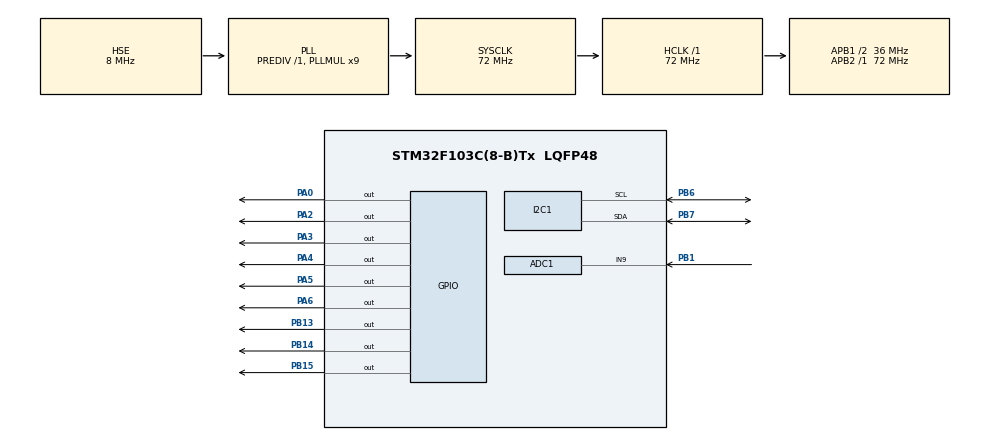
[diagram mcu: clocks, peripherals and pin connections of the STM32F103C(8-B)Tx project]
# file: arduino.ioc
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ADC1.Channel-0\#ChannelRegularConversion=ADC_CHANNEL_9
ADC1.ContinuousConvMode=ENABLE
ADC1.NbrOfConversionFlag=1
ADC1.Rank-0\#ChannelRegularConversion=1
ADC1.SamplingTime-0\#ChannelRegularConversion=ADC_SAMPLETIME_1CYCLE_5
ADC1.master=1
Mcu.Family=STM32F1
Mcu.Name=STM32F103C(8-B)Tx
Mcu.Package=LQFP48
NVIC.PriorityGroup=NVIC_PRIORITYGROUP_4
NVIC.TIM2_IRQn=true\:0\:0\:false\:false\:true\:true\:true\:true
NVIC.TIM3_IRQn=true\:0\:0\:false\:false\:true\:true\:true\:true
PA0-WKUP.Signal=GPIO_Output
PA13.Mode=Serial_Wire
PA13.Signal=SYS_JTMS-SWDIO
PA14.Mode=Serial_Wire
PA14.Signal=SYS_JTCK-SWCLK
PA2.Signal=GPIO_Output
PA3.Signal=GPIO_Output
PA4.Signal=GPIO_Output
PA5.Signal=GPIO_Output
PA6.Signal=GPIO_Output
PB1.Signal=ADCx_IN9
PB13.Signal=GPIO_Output
PB14.Signal=GPIO_Output
PB15.Signal=GPIO_Output
PB6.Mode=I2C
PB6.Signal=I2C1_SCL
PB7.Mode=I2C
PB7.Signal=I2C1_SDA
PD0-OSC_IN.Mode=HSE-External-Oscillator
PD0-OSC_IN.Signal=RCC_OSC_IN
PD1-OSC_OUT.Mode=HSE-External-Oscillator
PD1-OSC_OUT.Signal=RCC_OSC_OUT
ProjectManager.HeapSize=0x200
ProjectManager.StackSize=0x400
ProjectManager.TargetToolchain=STM32CubeIDE
RCC.ADCPresc=RCC_ADCPCLK2_DIV6
RCC.AHBFreq_Value=72000000
RCC.APB1CLKDivider=RCC_HCLK_DIV2
RCC.APB1Freq_Value=36000000
RCC.APB1TimFreq_Value=72000000
RCC.APB2Freq_Value=72000000
RCC.APB2TimFreq_Value=72000000
RCC.HCLKFreq_Value=72000000
RCC.PLLMUL=RCC_PLL_MUL9
RCC.PLLSourceVirtual=RCC_PLLSOURCE_HSE
RCC.SYSCLKFreq_VALUE=72000000
RCC.SYSCLKSource=RCC_SYSCLKSOURCE_PLLCLK
RCC.USBFreq_Value=72000000
SH.ADCx_IN9.0=ADC1_IN9,IN9
TIM2.Period=2000
TIM2.Prescaler=7200-1 
TIM3.Period=3000
TIM3.Prescaler=7200-1
VP_TIM2_VS_ClockSourceINT.Mode=Internal
VP_TIM3_VS_ClockSourceINT.Mode=Internal
board=custom

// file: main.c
/* USER CODE BEGIN Header */
/**
  ******************************************************************************
  * @file           : main.c
  * @brief          : Main program body
  ******************************************************************************
  * @attention
  *
  * Copyright (c) 2024 STMicroelectronics.
  * All rights reserved.
  *
  * This software is licensed under terms that can be found in the LICENSE file
  * in the root directory of this software component.
  * If no LICENSE file comes with this software, it is provided AS-IS.
  *
  ******************************************************************************
  */
/* USER CODE END Header */
#include "main.h"

/* USER CODE BEGIN Includes */
#include "i2c-lcd.h"
#include "stdio.h"

/* USER CODE END Includes */

ADC_HandleTypeDef hadc1;
I2C_HandleTypeDef hi2c1;
TIM_HandleTypeDef htim2;
TIM_HandleTypeDef htim3;

void SystemClock_Config(void);
static void MX_GPIO_Init(void);
static void MX_ADC1_Init(void);
static void MX_TIM2_Init(void);
static void MX_TIM3_Init(void);
static void MX_I2C1_Init(void);

/* USER CODE BEGIN 0 */
int row=0;
int col=0;
/* USER CODE END 0 */

int main(void)
{

  /* MCU Configuration--------------------------------------------------------*/

  /* Reset of all peripherals, Initializes the Flash interface and the Systick. */
  HAL_Init();

  /* Configure the system clock */
  SystemClock_Config();

  /* Initialize all configured peripherals */
  MX_GPIO_Init();
  MX_ADC1_Init();
  MX_TIM2_Init();
  MX_TIM3_Init();
  MX_I2C1_Init();

  /* USER CODE BEGIN 2 */

  uint16_t readValue;
  HAL_ADC_Start(&hadc1);
  HAL_TIM_Base_Start_IT(&htim2);
  HAL_TIM_Base_Start_IT(&htim3);

  lcd_init ();
  lcd_put_cur(0, 0);
  lcd_send_string ("TUBES MIKRO");
  lcd_put_cur(1, 0);
  lcd_send_string("INFO SUTRA");
  /* USER CODE END 2 */

  /* Infinite loop */
  /* USER CODE BEGIN WHILE */
  while (1)
  {
      HAL_ADC_PollForConversion(&hadc1, 1000);
      readValue = HAL_ADC_GetValue(&hadc1);

      if (readValue < 200) {
          // 1
          HAL_GPIO_WritePin(GPIOA, GPIO_PIN_0, 1); // kanan atas
          HAL_GPIO_WritePin(GPIOA, GPIO_PIN_2, 0); // tengah atas
          HAL_GPIO_WritePin(GPIOA, GPIO_PIN_3, 0); // kiri atas
          HAL_GPIO_WritePin(GPIOA, GPIO_PIN_4, 0); // tengah
          HAL_GPIO_WritePin(GPIOB, GPIO_PIN_13, 1); // kanan bawah
          HAL_GPIO_WritePin(GPIOB, GPIO_PIN_14, 0); // tengah bawah
          HAL_GPIO_WritePin(GPIOB, GPIO_PIN_15, 0); // kiri bawah

          HAL_TIM_Base_Stop(&htim2);
          HAL_TIM_PWM_Stop(&htim2, TIM_CHANNEL_1);
          HAL_TIM_Base_Stop(&htim3);
          HAL_TIM_PWM_Stop(&htim3, TIM_CHANNEL_1);

      }
      else if (readValue < 250) {
          // 2
          HAL_GPIO_WritePin(GPIOA, GPIO_PIN_0, 1); // kanan atas
          HAL_GPIO_WritePin(GPIOA, GPIO_PIN_2, 1); // tengah atas
          HAL_GPIO_WritePin(GPIOA, GPIO_PIN_3, 0); // kiri atas
          HAL_GPIO_WritePin(GPIOA, GPIO_PIN_4, 1); // tengah
          HAL_GPIO_WritePin(GPIOB, GPIO_PIN_13, 0); // kanan bawah
          HAL_GPIO_WritePin(GPIOB, GPIO_PIN_14, 1); // tengah bawah
          HAL_GPIO_WritePin(GPIOB, GPIO_PIN_15, 1); // kiri bawah

          HAL_TIM_Base_Start(&htim2);  // Start Timer 2
          HAL_TIM_Base_Start(&htim3);  // Start Timer 3

      }
      else if (readValue < 300) {
          // 3
          HAL_GPIO_WritePin(GPIOA, GPIO_PIN_0, 1); // kanan atas
          HAL_GPIO_WritePin(GPIOA, GPIO_PIN_2, 1); // tengah atas
          HAL_GPIO_WritePin(GPIOA, GPIO_PIN_3, 0); // kiri atas
          HAL_GPIO_WritePin(GPIOA, GPIO_PIN_4, 1); // tengah
          HAL_GPIO_WritePin(GPIOB, GPIO_PIN_13, 1); // kanan bawah
          HAL_GPIO_WritePin(GPIOB, GPIO_PIN_14, 1); // tengah bawah
          HAL_GPIO_WritePin(GPIOB, GPIO_PIN_15, 0); // kiri bawah
      }
      else if (readValue < 350) {
          // 4
          HAL_GPIO_WritePin(GPIOA, GPIO_PIN_0, 1); // kanan atas
          HAL_GPIO_WritePin(GPIOA, GPIO_PIN_2, 0); // tengah atas
          HAL_GPIO_WritePin(GPIOA, GPIO_PIN_3, 1); // kiri atas
          HAL_GPIO_WritePin(GPIOA, GPIO_PIN_4, 1); // tengah
          HAL_GPIO_WritePin(GPIOB, GPIO_PIN_13, 1); // kanan bawah
          HAL_GPIO_WritePin(GPIOB, GPIO_PIN_14, 0); // tengah bawah
          HAL_GPIO_WritePin(GPIOB, GPIO_PIN_15, 0); // kiri bawah
      }
      else if (readValue < 400) {
          // 5
          HAL_GPIO_WritePin(GPIOA, GPIO_PIN_0, 0); // kanan atas
          HAL_GPIO_WritePin(GPIOA, GPIO_PIN_2, 1); // tengah atas
          HAL_GPIO_WritePin(GPIOA, GPIO_PIN_3, 1); // kiri atas
          HAL_GPIO_WritePin(GPIOA, GPIO_PIN_4, 1); // tengah
          HAL_GPIO_WritePin(GPIOB, GPIO_PIN_13, 1); // kanan bawah
          HAL_GPIO_WritePin(GPIOB, GPIO_PIN_14, 1); // tengah bawah
          HAL_GPIO_WritePin(GPIOB, GPIO_PIN_15, 0); // kiri bawah
      }

      else if (readValue < 450) {
    	  //segmen 6
    	  HAL_GPIO_WritePin(GPIOA, GPIO_PIN_0, 0); //kanan atas
    	  HAL_GPIO_WritePin(GPIOA, GPIO_PIN_2, 1);//tengah atas
    	  HAL_GPIO_WritePin(GPIOA, GPIO_PIN_3, 1);//kiri atas
    	  HAL_GPIO_WritePin(GPIOA, GPIO_PIN_4, 1);//tengah
    	  HAL_GPIO_WritePin(GPIOB, GPIO_PIN_13, 1);//kanan bawah
    	  HAL_GPIO_WritePin(GPIOB, GPIO_PIN_14, 1);//tengah bawah
    	  HAL_GPIO_WritePin(GPIOB, GPIO_PIN_15, 1);//kiri bawah

      }

      else if (readValue < 500) {
          // 7
          HAL_GPIO_WritePin(GPIOA, GPIO_PIN_0, 1); // kanan atas
          HAL_GPIO_WritePin(GPIOA, GPIO_PIN_2, 1); // tengah atas
          HAL_GPIO_WritePin(GPIOA, GPIO_PIN_3, 0); // kiri atas
          HAL_GPIO_WritePin(GPIOA, GPIO_PIN_4, 0); // tengah
          HAL_GPIO_WritePin(GPIOB, GPIO_PIN_13, 1); // kanan bawah
          HAL_GPIO_WritePin(GPIOB, GPIO_PIN_14, 0); // tengah bawah
          HAL_GPIO_WritePin(GPIOB, GPIO_PIN_15, 0); // kiri bawah
      }
      else if (readValue  < 550) {
          // 8
          HAL_GPIO_WritePin(GPIOA, GPIO_PIN_0, 1); // kanan atas
          HAL_GPIO_WritePin(GPIOA, GPIO_PIN_2, 1); // tengah atas
          HAL_GPIO_WritePin(GPIOA, GPIO_PIN_3, 1); // kiri atas
          HAL_GPIO_WritePin(GPIOA, GPIO_PIN_4, 1); // tengah
          HAL_GPIO_WritePin(GPIOB, GPIO_PIN_13, 1); // kanan bawah
          HAL_GPIO_WritePin(GPIOB, GPIO_PIN_14, 1); // tengah bawah
          HAL_GPIO_WritePin(GPIOB, GPIO_PIN_15, 1); // kiri bawah
      }
      else if (readValue < 600) {
          // 9
          HAL_GPIO_WritePin(GPIOA, GPIO_PIN_0, 1); // kanan atas
          HAL_GPIO_WritePin(GPIOA, GPIO_PIN_2, 1); // tengah atas
          HAL_GPIO_WritePin(GPIOA, GPIO_PIN_3, 1); // kiri atas
          HAL_GPIO_WritePin(GPIOA, GPIO_PIN_4, 1); // tengah
          HAL_GPIO_WritePin(GPIOB, GPIO_PIN_13, 1); // kanan bawah
          HAL_GPIO_WritePin(GPIOB, GPIO_PIN_14, 1); // tengah bawah
          HAL_GPIO_WritePin(GPIOB, GPIO_PIN_15, 0); // kiri bawah

      }
       else{
          //segmen 0
    	   HAL_GPIO_WritePin(GPIOA, GPIO_PIN_0, 1);
    	   HAL_GPIO_WritePin(GPIOA, GPIO_PIN_2, 1);
    	   HAL_GPIO_WritePin(GPIOA, GPIO_PIN_3, 1);
    	   HAL_GPIO_WritePin(GPIOA, GPIO_PIN_4, 0);// tengah
    	   HAL_GPIO_WritePin(GPIOB, GPIO_PIN_13, 1);
    	   HAL_GPIO_WritePin(GPIOB, GPIO_PIN_14, 1);
    	   HAL_GPIO_WritePin(GPIOB, GPIO_PIN_15, 1);

          }

      }

  }

    /* USER CODE END WHILE */

void SystemClock_Config(void)
{
  RCC_OscInitTypeDef RCC_OscInitStruct = {0};
  RCC_ClkInitTypeDef RCC_ClkInitStruct = {0};
  RCC_PeriphCLKInitTypeDef PeriphClkInit = {0};

  /** Initializes the RCC Oscillators according to the specified parameters
  * in the RCC_OscInitTypeDef structure.
  */
  RCC_OscInitStruct.OscillatorType = RCC_OSCILLATORTYPE_HSE;
  RCC_OscInitStruct.HSEState = RCC_HSE_ON;
  RCC_OscInitStruct.HSEPredivValue = RCC_HSE_PREDIV_DIV1;
  RCC_OscInitStruct.HSIState = RCC_HSI_ON;
  RCC_OscInitStruct.PLL.PLLState = RCC_PLL_ON;
  RCC_OscInitStruct.PLL.PLLSource = RCC_PLLSOURCE_HSE;
  RCC_OscInitStruct.PLL.PLLMUL = RCC_PLL_MUL9;
  if (HAL_RCC_OscConfig(&RCC_OscInitStruct) != HAL_OK)
  {
    Error_Handler();
  }

  /** Initializes the CPU, AHB and APB buses clocks
  */
  RCC_ClkInitStruct.ClockType = RCC_CLOCKTYPE_HCLK|RCC_CLOCKTYPE_SYSCLK
                              |RCC_CLOCKTYPE_PCLK1|RCC_CLOCKTYPE_PCLK2;
  RCC_ClkInitStruct.SYSCLKSource = RCC_SYSCLKSOURCE_PLLCLK;
  RCC_ClkInitStruct.AHBCLKDivider = RCC_SYSCLK_DIV1;
  RCC_ClkInitStruct.APB1CLKDivider = RCC_HCLK_DIV2;
  RCC_ClkInitStruct.APB2CLKDivider = RCC_HCLK_DIV1;

  if (HAL_RCC_ClockConfig(&RCC_ClkInitStruct, FLASH_LATENCY_2) != HAL_OK)
  {
    Error_Handler();
  }
  PeriphClkInit.PeriphClockSelection = RCC_PERIPHCLK_ADC;
  PeriphClkInit.AdcClockSelection = RCC_ADCPCLK2_DIV6;
  if (HAL_RCCEx_PeriphCLKConfig(&PeriphClkInit) != HAL_OK)
  {
    Error_Handler();
  }
}

static void MX_ADC1_Init(void)
{

  ADC_ChannelConfTypeDef sConfig = {0};

  /** Common config
  */
  hadc1.Instance = ADC1;
  hadc1.Init.ScanConvMode = ADC_SCAN_DISABLE;
  hadc1.Init.ContinuousConvMode = ENABLE;
  hadc1.Init.DiscontinuousConvMode = DISABLE;
  hadc1.Init.ExternalTrigConv = ADC_SOFTWARE_START;
  hadc1.Init.DataAlign = ADC_DATAALIGN_RIGHT;
  hadc1.Init.NbrOfConversion = 1;
  if (HAL_ADC_Init(&hadc1) != HAL_OK)
  {
    Error_Handler();
  }

  /** Configure Regular Channel
  */
  sConfig.Channel = ADC_CHANNEL_9;
  sConfig.Rank = ADC_REGULAR_RANK_1;
  sConfig.SamplingTime = ADC_SAMPLETIME_1CYCLE_5;
  if (HAL_ADC_ConfigChannel(&hadc1, &sConfig) != HAL_OK)
  {
    Error_Handler();
  }

}

static void MX_I2C1_Init(void)
{

  hi2c1.Instance = I2C1;
  hi2c1.Init.ClockSpeed = 100000;
  hi2c1.Init.DutyCycle = I2C_DUTYCYCLE_2;
  hi2c1.Init.OwnAddress1 = 0;
  hi2c1.Init.AddressingMode = I2C_ADDRESSINGMODE_7BIT;
  hi2c1.Init.DualAddressMode = I2C_DUALADDRESS_DISABLE;
  hi2c1.Init.OwnAddress2 = 0;
  hi2c1.Init.GeneralCallMode = I2C_GENERALCALL_DISABLE;
  hi2c1.Init.NoStretchMode = I2C_NOSTRETCH_DISABLE;
  if (HAL_I2C_Init(&hi2c1) != HAL_OK)
  {
    Error_Handler();
  }

}

static void MX_TIM2_Init(void)
{

  TIM_ClockConfigTypeDef sClockSourceConfig = {0};
  TIM_MasterConfigTypeDef sMasterConfig = {0};

  htim2.Instance = TIM2;
  htim2.Init.Prescaler = 7200-1 ;
  htim2.Init.CounterMode = TIM_COUNTERMODE_UP;
  htim2.Init.Period = 2000;
  htim2.Init.ClockDivision = TIM_CLOCKDIVISION_DIV1;
  htim2.Init.AutoReloadPreload = TIM_AUTORELOAD_PRELOAD_DISABLE;
  if (HAL_TIM_Base_Init(&htim2) != HAL_OK)
  {
    Error_Handler();
  }
  sClockSourceConfig.ClockSource = TIM_CLOCKSOURCE_INTERNAL;
  if (HAL_TIM_ConfigClockSource(&htim2, &sClockSourceConfig) != HAL_OK)
  {
    Error_Handler();
  }
  sMasterConfig.MasterOutputTrigger = TIM_TRGO_RESET;
  sMasterConfig.MasterSlaveMode = TIM_MASTERSLAVEMODE_DISABLE;
  if (HAL_TIMEx_MasterConfigSynchronization(&htim2, &sMasterConfig) != HAL_OK)
  {
    Error_Handler();
  }

}

static void MX_TIM3_Init(void)
{

  TIM_ClockConfigTypeDef sClockSourceConfig = {0};
  TIM_MasterConfigTypeDef sMasterConfig = {0};

  htim3.Instance = TIM3;
  htim3.Init.Prescaler = 7200-1;
  htim3.Init.CounterMode = TIM_COUNTERMODE_UP;
  htim3.Init.Period = 3000;
  htim3.Init.ClockDivision = TIM_CLOCKDIVISION_DIV1;
  htim3.Init.AutoReloadPreload = TIM_AUTORELOAD_PRELOAD_DISABLE;
  if (HAL_TIM_Base_Init(&htim3) != HAL_OK)
  {
    Error_Handler();
  }
  sClockSourceConfig.ClockSource = TIM_CLOCKSOURCE_INTERNAL;
  if (HAL_TIM_ConfigClockSource(&htim3, &sClockSourceConfig) != HAL_OK)
  {
    Error_Handler();
  }
  sMasterConfig.MasterOutputTrigger = TIM_TRGO_RESET;
  sMasterConfig.MasterSlaveMode = TIM_MASTERSLAVEMODE_DISABLE;
  if (HAL_TIMEx_MasterConfigSynchronization(&htim3, &sMasterConfig) != HAL_OK)
  {
    Error_Handler();
  }

}

static void MX_GPIO_Init(void)
{
  GPIO_InitTypeDef GPIO_InitStruct = {0};

  /* GPIO Ports Clock Enable */
  __HAL_RCC_GPIOD_CLK_ENABLE();
  __HAL_RCC_GPIOA_CLK_ENABLE();
  __HAL_RCC_GPIOB_CLK_ENABLE();

  /*Configure GPIO pin Output Level */
  HAL_GPIO_WritePin(GPIOA, GPIO_PIN_0|GPIO_PIN_2|GPIO_PIN_3|GPIO_PIN_4
                          |GPIO_PIN_5|GPIO_PIN_6, GPIO_PIN_RESET);

  /*Configure GPIO pin Output Level */
  HAL_GPIO_WritePin(GPIOB, GPIO_PIN_13|GPIO_PIN_14|GPIO_PIN_15, GPIO_PIN_RESET);

  /*Configure GPIO pins : PA0 PA2 PA3 PA4
                           PA5 PA6 */
  GPIO_InitStruct.Pin = GPIO_PIN_0|GPIO_PIN_2|GPIO_PIN_3|GPIO_PIN_4
                          |GPIO_PIN_5|GPIO_PIN_6;
  GPIO_InitStruct.Mode = GPIO_MODE_OUTPUT_PP;
  GPIO_InitStruct.Pull = GPIO_NOPULL;
  GPIO_InitStruct.Speed = GPIO_SPEED_FREQ_LOW;
  HAL_GPIO_Init(GPIOA, &GPIO_InitStruct);

  /*Configure GPIO pins : PB13 PB14 PB15 */
  GPIO_InitStruct.Pin = GPIO_PIN_13|GPIO_PIN_14|GPIO_PIN_15;
  GPIO_InitStruct.Mode = GPIO_MODE_OUTPUT_PP;
  GPIO_InitStruct.Pull = GPIO_NOPULL;
  GPIO_InitStruct.Speed = GPIO_SPEED_FREQ_LOW;
  HAL_GPIO_Init(GPIOB, &GPIO_InitStruct);

}

/* USER CODE BEGIN 4 */
void HAL_TIM_PeriodElapsedCallback(TIM_HandleTypeDef *htim)
{
  if(htim->Instance == TIM2)
  {
    HAL_GPIO_TogglePin(GPIOA, GPIO_PIN_5);
  }

  if(htim->Instance == TIM3)
  {
    HAL_GPIO_TogglePin(GPIOA, GPIO_PIN_6);
  }
}

/* USER CODE END 4 */

void Error_Handler(void)
{
  __disable_irq();
  while (1)
  {
  }
}
